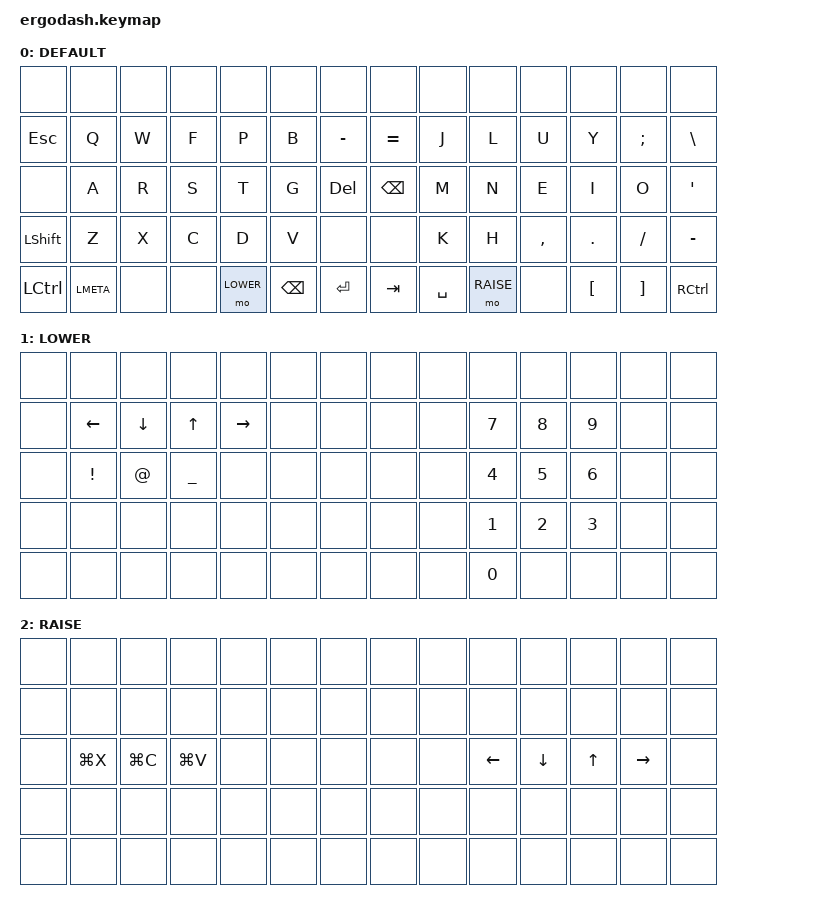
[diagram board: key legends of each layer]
/*
 * Cyril Harvey
 * Sept. 24 2023
 * Modified Ergodash firmware to accomodate the "mini" variety
 */

#include <behaviors.dtsi>
#include <dt-bindings/zmk/keys.h>

#define DEFAULT 0
#define LOWER   1
#define RAISE   2


/ {
        keymap {
                compatible = "zmk,keymap";

                default_layer {
                        label = "DEFAULT";
                        bindings = <
&none         &none            &none         &none         &none         &none         &none                  &none         &none         &none         &none         &none         &none         &none  
&kp  ESC      &kp  Q           &kp  W        &kp  F        &kp  P        &kp  B        &kp  MINUS             &kp  EQUAL    &kp  J        &kp  L        &kp  U        &kp  Y        &kp  SEMI     &kp  BSLH
&none         &kp  A           &kp  R        &kp  S        &kp  T        &kp  G        &kp  DEL               &kp  BSPC     &kp  M        &kp  N        &kp  E        &kp  I        &kp  O        &kp  SQT
&kp  LSHFT    &kp  Z           &kp  X        &kp  C        &kp  D        &kp  V        &none                  &none         &kp  K        &kp  H        &kp  COMMA    &kp  DOT      &kp  SLASH    &kp  MINUS
&kp  LCTRL    &kp LMETA        &none         &none         &mo  LOWER    &kp  BSPC     &kp  RET               &kp  TAB      &kp  SPACE    &mo RAISE     &none         &kp  LBKT     &kp  RBKT     &kp  RCTRL
                        >;
                };
                lower_layer {
                        label = "LOWER";
                        bindings = <
&none         &none         &none         &none         &none         &none         &none                  &none         &none         &none         &none         &none          &none         &none
&none         &kp LEFT      &kp DOWN      &kp UP        &kp RIGHT     &none         &none                  &none         &none         &kp N7        &kp N8        &kp N9         &none         &none
&none         &kp EXCL      &kp AT        &kp UNDER     &none         &none         &none                  &none         &none         &kp N4        &kp N5        &kp N6         &none         &none
&none         &none         &none         &none         &none         &none         &none                  &none         &none         &kp N1        &kp N2        &kp N3         &none         &none
&none         &none         &none         &none         &none         &none         &none                  &none         &none         &kp N0        &none         &none          &none         &none
                        >;
                };
                raise_layer {
                        label = "RAISE";
                        bindings = <
&none         &none                 &none                 &none                 &none         &none         &none                  &none         &none         &none         &none         &none          &none         &none
&none         &none                 &none                 &none                 &none         &none         &none                  &none         &none         &none         &none         &none          &none         &none
&none         &kp LG(X)             &kp LG(C)             &kp LG(V)             &none         &none         &none                  &none         &none         &kp LEFT      &kp DOWN      &kp UP         &kp RIGHT     &none
&none         &none                 &none                 &none                 &none         &none         &none                  &none         &none         &none         &none         &none          &none         &none
&none         &none                 &none                 &none                 &none         &none         &none                  &none         &none         &none         &none         &none          &none         &none
                        >;
                };
        };
};

